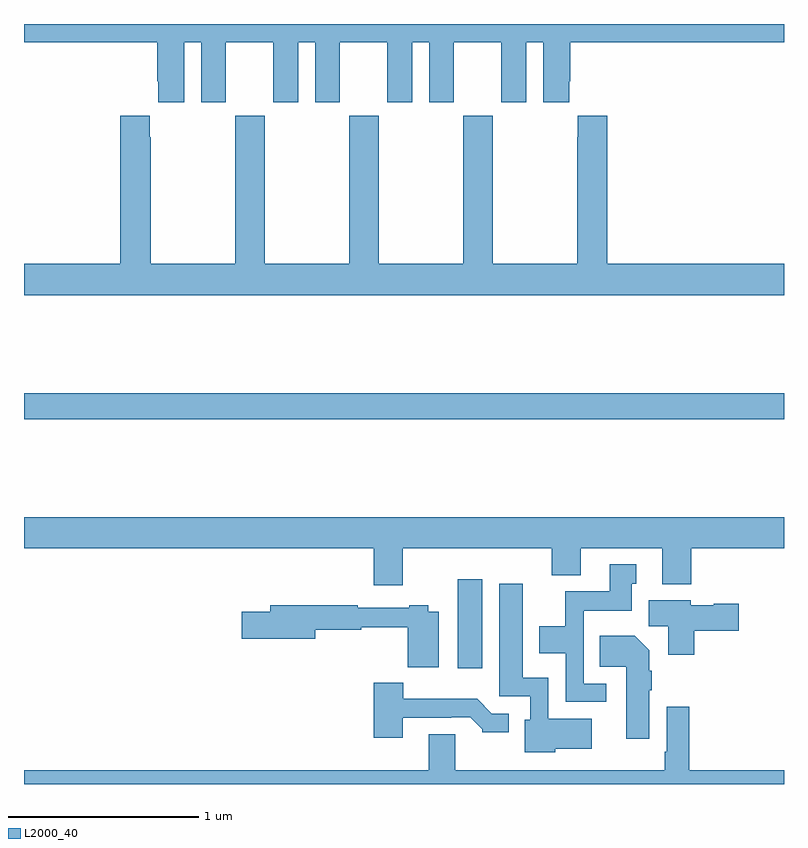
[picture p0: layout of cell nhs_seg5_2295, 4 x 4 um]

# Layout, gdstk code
import gdstk
lib = gdstk.Library(unit=1e-6, precision=1e-09)
def R(c, l, rs):  # rectangles x0, y0, x1, y1
    for r in rs: c.add(gdstk.rectangle(r[:2], r[2:], *l))
def P(c, l, *ps):  # polygons
    for p in ps: c.add(gdstk.Polygon(p, *l))
L2000_40 = (2000, 40)

nhs_seg5_2295 = lib.new_cell('nhs_seg5_2295')
R(nhs_seg5_2295, L2000_40, [(245.282,909.408,245.413,909.877), (243,910.72,247,910.856)])
P(nhs_seg5_2295, L2000_40, [(243.844,912.704),(243.932,912.704),(243.932,912.387),(244.063,912.387),(244.063,912.704),(244.313,912.704),(244.313,912.387),(244.444,912.387),(244.444,912.704),(244.532,912.704),(244.532,912.387),(244.663,912.387),(244.663,912.704),(244.913,912.704),(244.913,912.387),(245.044,912.387),(245.044,912.704),(245.132,912.704),(245.132,912.387),(245.263,912.387),(245.263,912.704),(245.513,912.704),(245.513,912.387),(245.644,912.387),(245.644,912.704),(245.732,912.704),(245.732,912.387),(245.869,912.387),(245.869,912.499),(245.876,912.499),(245.876,912.704),(247,912.704),(247,912.799),(243,912.799),(243,912.704),(243.701,912.704),(243.701,912.499),(243.707,912.499),(243.707,912.387),(243.844,912.387)],
  [(247,911.536),(246.071,911.536),(246.071,912.316),(245.915,912.316),(245.915,912.203),(245.911,912.203),(245.911,911.536),(245.466,911.536),(245.466,912.316),(245.311,912.316),(245.311,911.536),(244.866,911.536),(244.866,912.316),(244.711,912.316),(244.711,911.536),(244.266,911.536),(244.266,912.316),(244.111,912.316),(244.111,911.536),(243.666,911.536),(243.666,912.203),(243.661,912.203),(243.661,912.316),(243.506,912.316),(243.506,911.536),(243,911.536),(243,911.372),(247,911.372)],
  [(244.993,910.04),(245.777,910.04),(245.777,909.899),(245.929,909.899),(245.929,910.04),(246.359,910.04),(246.359,909.851),(246.512,909.851),(246.512,910.04),(247,910.04),(247,910.204),(243,910.204),(243,910.04),(244.841,910.04),(244.841,909.846),(244.993,909.846)],
  [(246.064,909.327),(245.946,909.327),(245.946,909.71),(246.199,909.71),(246.199,909.852),(246.223,909.852),(246.223,909.955),(246.083,909.955),(246.083,909.814),(245.848,909.814),(245.848,909.628),(245.711,909.628),(245.711,909.488),(245.85,909.488),(245.85,909.231),(246.064,909.231)],
  [(245.796,908.984),(245.989,908.984),(245.989,909.142),(245.76,909.142),(245.76,909.358),(245.626,909.358),(245.626,909.853),(245.501,909.853),(245.501,909.261),(245.664,909.261),(245.664,909.138),(245.636,909.138),(245.636,908.966),(245.796,908.966)],
  [(246.527,909.605),(246.763,909.605),(246.763,909.747),(246.63,909.747),(246.63,909.739),(246.51,909.739),(246.51,909.766),(246.287,909.766),(246.287,909.628),(246.392,909.628),(246.392,909.48),(246.527,909.48)],
  [(245.182,909.706),(245.127,909.706),(245.127,909.739),(245.027,909.739),(245.027,909.726),(244.757,909.726),(244.757,909.739),(244.295,909.739),(244.295,909.705),(244.146,909.705),(244.146,909.563),(244.534,909.563),(244.534,909.61),(244.776,909.61),(244.776,909.625),(245.02,909.625),(245.02,909.413),(245.182,909.413)],
  [(246.292,909.292),(246.305,909.292),(246.305,909.395),(246.292,909.395),(246.292,909.502),(246.214,909.58),(246.031,909.58),(246.031,909.416),(246.17,909.416),(246.17,909.036),(246.292,909.036)],
  [(244.993,909.147),(245.249,909.147),(245.249,909.15),(245.348,909.15),(245.412,909.086),(245.412,909.071),(245.551,909.071),(245.551,909.168),(245.463,909.168),(245.385,909.247),(244.996,909.247),(244.996,909.331),(244.841,909.331),(244.841,909.042),(244.993,909.042)],
  [(247,908.872),(246.5,908.872),(246.5,909.205),(246.384,909.205),(246.384,908.968),(246.372,908.968),(246.372,908.872),(245.269,908.872),(245.269,909.062),(245.129,909.062),(245.129,908.872),(243,908.872),(243,908.799),(247,908.799)])

lib.write_gds('nhs_seg5_2295.gds')
